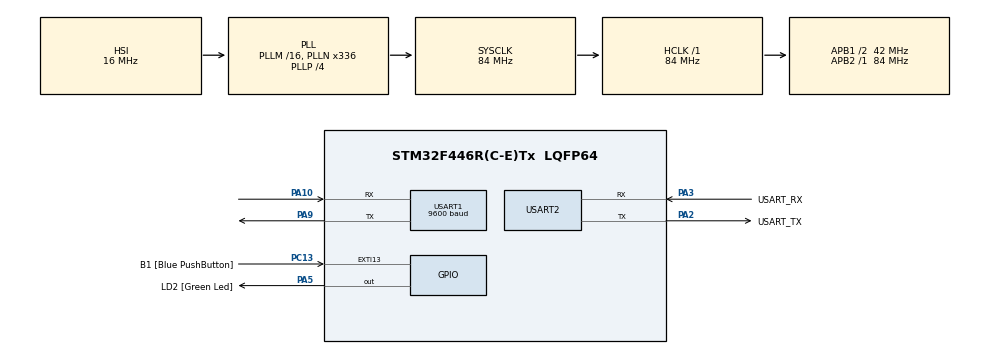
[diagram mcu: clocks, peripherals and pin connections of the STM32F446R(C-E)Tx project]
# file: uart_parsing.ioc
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Mcu.Family=STM32F4
Mcu.Name=STM32F446R(C-E)Tx
Mcu.Package=LQFP64
NVIC.PriorityGroup=NVIC_PRIORITYGROUP_0
NVIC.USART1_IRQn=true\:0\:0\:false\:false\:true\:true\:true\:true
PA10.Mode=Asynchronous
PA10.Signal=USART1_RX
PA13.GPIO_Label=TMS
PA13.Mode=Serial_Wire
PA13.Signal=SYS_JTMS-SWDIO
PA14.GPIO_Label=TCK
PA14.Mode=Serial_Wire
PA14.Signal=SYS_JTCK-SWCLK
PA2.GPIO_Label=USART_TX
PA2.Mode=Asynchronous
PA2.Signal=USART2_TX
PA3.GPIO_Label=USART_RX
PA3.Mode=Asynchronous
PA3.Signal=USART2_RX
PA5.GPIO_Label=LD2 [Green Led]
PA5.Signal=GPIO_Output
PA9.Mode=Asynchronous
PA9.Signal=USART1_TX
PB3.GPIO_Label=SWO
PB3.Signal=SYS_JTDO-SWO
PC13.GPIO_Label=B1 [Blue PushButton]
PC13.GPIO_ModeDefaultEXTI=GPIO_MODE_IT_FALLING
PC13.Signal=GPXTI13
PC14-OSC32_IN.Mode=LSE-External-Oscillator
PC14-OSC32_IN.Signal=RCC_OSC32_IN
PC15-OSC32_OUT.Mode=LSE-External-Oscillator
PC15-OSC32_OUT.Signal=RCC_OSC32_OUT
PH0-OSC_IN.Mode=HSE-External-Oscillator
PH0-OSC_IN.Signal=RCC_OSC_IN
PH1-OSC_OUT.Mode=HSE-External-Oscillator
PH1-OSC_OUT.Signal=RCC_OSC_OUT
ProjectManager.HeapSize=0x200
ProjectManager.StackSize=0x400
ProjectManager.TargetToolchain=STM32CubeIDE
RCC.48MHZClocksFreq_Value=84000000
RCC.AHBFreq_Value=84000000
RCC.APB1CLKDivider=RCC_HCLK_DIV2
RCC.APB1Freq_Value=42000000
RCC.APB1TimFreq_Value=84000000
RCC.APB2Freq_Value=84000000
RCC.APB2TimFreq_Value=84000000
RCC.CortexFreq_Value=84000000
RCC.FLatency-AdvancedSettings=FLASH_LATENCY_2
RCC.HCLKFreq_Value=84000000
RCC.HSE_VALUE=8000000
RCC.HSI_VALUE=16000000
RCC.PLLN=336
RCC.PLLP=RCC_PLLP_DIV4
RCC.SYSCLKFreq_VALUE=84000000
RCC.SYSCLKSource=RCC_SYSCLKSOURCE_PLLCLK
RCC.USBFreq_Value=168000000
RCC.VCOOutputFreq_Value=336000000
USART1.BaudRate=9600
USART1.VirtualMode=VM_ASYNC
USART2.VirtualMode=VM_ASYNC
board=NUCLEO-F446RE

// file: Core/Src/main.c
/* USER CODE BEGIN Header */
/**
  ******************************************************************************
  * @file           : main.c
  * @brief          : Main program body
  ******************************************************************************
  * @attention
  *
  * Copyright (c) 2025 STMicroelectronics.
  * All rights reserved.
  *
  * This software is licensed under terms that can be found in the LICENSE file
  * in the root directory of this software component.
  * If no LICENSE file comes with this software, it is provided AS-IS.
  *
  ******************************************************************************
  */

// connect pa2 and pa10 and baudrate is 15200
/* USER CODE END Header */
#include "main.h"
#include<stdio.h>
#include<string.h>

UART_HandleTypeDef huart1;
UART_HandleTypeDef huart2;

void SystemClock_Config(void);
static void MX_GPIO_Init(void);
static void MX_USART2_UART_Init(void);
static void MX_USART1_UART_Init(void);

/* USER CODE BEGIN 0 */
typedef struct __attribute__((packed)) {
    uint8_t sensor_id;
    uint32_t timestamp;
    float reading_value;
} SensorData_t;

#define UART_BUFFER_SIZE  64
uint8_t uart_rx_buffer[UART_BUFFER_SIZE];
uint8_t rx_index = 0;

void HAL_UART_RxCpltCallback(UART_HandleTypeDef *huart)
{
    if (huart->Instance == USART1)
    {
        rx_index++;

        if (rx_index >= sizeof(SensorData_t)) {
            SensorData_t *data = (SensorData_t*)uart_rx_buffer;

            char msg[100];
            sprintf(msg, "Sensor ID: %d\r\nTimestamp: %lu\r\nReading: %.2f\r\n\n",
                    data->sensor_id, data->timestamp, data->reading_value);
            HAL_UART_Transmit(&huart2, (uint8_t*)msg, strlen(msg), HAL_MAX_DELAY);

            rx_index = 0; // Reset for next structure
        }

        HAL_UART_Receive_IT(&huart1, &uart_rx_buffer[rx_index], 1);
    }
}

/* USER CODE END 0 */

int main(void)
{

  /* MCU Configuration--------------------------------------------------------*/

  /* Reset of all peripherals, Initializes the Flash interface and the Systick. */
  HAL_Init();

  /* Configure the system clock */
  SystemClock_Config();

  /* Initialize all configured peripherals */
  MX_GPIO_Init();
  MX_USART2_UART_Init();
  MX_USART1_UART_Init();
  /* USER CODE BEGIN 2 */
  rx_index = 0;

  HAL_UART_Receive_IT(&huart1, &uart_rx_buffer[rx_index], 1);

  /* USER CODE END 2 */

  /* Infinite loop */
  while (1)
  {

  }
}

void SystemClock_Config(void)
{
  RCC_OscInitTypeDef RCC_OscInitStruct = {0};
  RCC_ClkInitTypeDef RCC_ClkInitStruct = {0};

  /** Configure the main internal regulator output voltage
  */
  __HAL_RCC_PWR_CLK_ENABLE();
  __HAL_PWR_VOLTAGESCALING_CONFIG(PWR_REGULATOR_VOLTAGE_SCALE3);

  /** Initializes the RCC Oscillators according to the specified parameters
  * in the RCC_OscInitTypeDef structure.
  */
  RCC_OscInitStruct.OscillatorType = RCC_OSCILLATORTYPE_HSI;
  RCC_OscInitStruct.HSIState = RCC_HSI_ON;
  RCC_OscInitStruct.HSICalibrationValue = RCC_HSICALIBRATION_DEFAULT;
  RCC_OscInitStruct.PLL.PLLState = RCC_PLL_ON;
  RCC_OscInitStruct.PLL.PLLSource = RCC_PLLSOURCE_HSI;
  RCC_OscInitStruct.PLL.PLLM = 16;
  RCC_OscInitStruct.PLL.PLLN = 336;
  RCC_OscInitStruct.PLL.PLLP = RCC_PLLP_DIV4;
  RCC_OscInitStruct.PLL.PLLQ = 2;
  RCC_OscInitStruct.PLL.PLLR = 2;
  if (HAL_RCC_OscConfig(&RCC_OscInitStruct) != HAL_OK)
  {
    Error_Handler();
  }

  /** Initializes the CPU, AHB and APB buses clocks
  */
  RCC_ClkInitStruct.ClockType = RCC_CLOCKTYPE_HCLK|RCC_CLOCKTYPE_SYSCLK
                              |RCC_CLOCKTYPE_PCLK1|RCC_CLOCKTYPE_PCLK2;
  RCC_ClkInitStruct.SYSCLKSource = RCC_SYSCLKSOURCE_PLLCLK;
  RCC_ClkInitStruct.AHBCLKDivider = RCC_SYSCLK_DIV1;
  RCC_ClkInitStruct.APB1CLKDivider = RCC_HCLK_DIV2;
  RCC_ClkInitStruct.APB2CLKDivider = RCC_HCLK_DIV1;

  if (HAL_RCC_ClockConfig(&RCC_ClkInitStruct, FLASH_LATENCY_2) != HAL_OK)
  {
    Error_Handler();
  }
}

static void MX_USART1_UART_Init(void)
{

  huart1.Instance = USART1;
  huart1.Init.BaudRate = 9600;
  huart1.Init.WordLength = UART_WORDLENGTH_8B;
  huart1.Init.StopBits = UART_STOPBITS_1;
  huart1.Init.Parity = UART_PARITY_NONE;
  huart1.Init.Mode = UART_MODE_TX_RX;
  huart1.Init.HwFlowCtl = UART_HWCONTROL_NONE;
  huart1.Init.OverSampling = UART_OVERSAMPLING_16;
  if (HAL_UART_Init(&huart1) != HAL_OK)
  {
    Error_Handler();
  }

}

static void MX_USART2_UART_Init(void)
{

  huart2.Instance = USART2;
  huart2.Init.BaudRate = 115200;
  huart2.Init.WordLength = UART_WORDLENGTH_8B;
  huart2.Init.StopBits = UART_STOPBITS_1;
  huart2.Init.Parity = UART_PARITY_NONE;
  huart2.Init.Mode = UART_MODE_TX_RX;
  huart2.Init.HwFlowCtl = UART_HWCONTROL_NONE;
  huart2.Init.OverSampling = UART_OVERSAMPLING_16;
  if (HAL_UART_Init(&huart2) != HAL_OK)
  {
    Error_Handler();
  }

}

static void MX_GPIO_Init(void)
{
  GPIO_InitTypeDef GPIO_InitStruct = {0};

  /* GPIO Ports Clock Enable */
  __HAL_RCC_GPIOC_CLK_ENABLE();
  __HAL_RCC_GPIOH_CLK_ENABLE();
  __HAL_RCC_GPIOA_CLK_ENABLE();
  __HAL_RCC_GPIOB_CLK_ENABLE();

  /*Configure GPIO pin Output Level */
  HAL_GPIO_WritePin(LD2_GPIO_Port, LD2_Pin, GPIO_PIN_RESET);

  /*Configure GPIO pin : B1_Pin */
  GPIO_InitStruct.Pin = B1_Pin;
  GPIO_InitStruct.Mode = GPIO_MODE_IT_FALLING;
  GPIO_InitStruct.Pull = GPIO_NOPULL;
  HAL_GPIO_Init(B1_GPIO_Port, &GPIO_InitStruct);

  /*Configure GPIO pin : LD2_Pin */
  GPIO_InitStruct.Pin = LD2_Pin;
  GPIO_InitStruct.Mode = GPIO_MODE_OUTPUT_PP;
  GPIO_InitStruct.Pull = GPIO_NOPULL;
  GPIO_InitStruct.Speed = GPIO_SPEED_FREQ_LOW;
  HAL_GPIO_Init(LD2_GPIO_Port, &GPIO_InitStruct);

}

void Error_Handler(void)
{
  __disable_irq();
  while (1)
  {
  }
}
